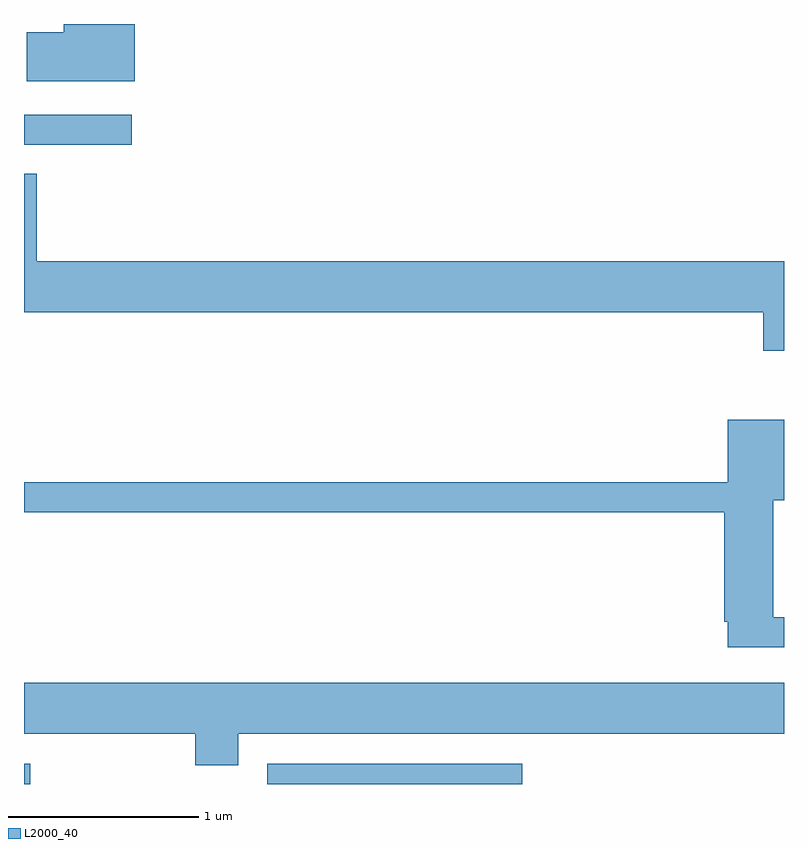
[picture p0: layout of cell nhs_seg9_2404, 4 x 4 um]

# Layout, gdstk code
import gdstk
lib = gdstk.Library(unit=1e-6, precision=1e-09)
def R(c, l, rs):  # rectangles x0, y0, x1, y1
    for r in rs: c.add(gdstk.rectangle(r[:2], r[2:], *l))
def P(c, l, *ps):  # polygons
    for p in ps: c.add(gdstk.Polygon(p, *l))
L2000_40 = (2000, 40)

nhs_seg9_2404 = lib.new_cell('nhs_seg9_2404')
R(nhs_seg9_2404, L2000_40, [(255.611,2000.432,255.643,2000.539), (256.891,2000.432,258.233,2000.539), (255.611,2003.796,256.178,2003.954)])
P(nhs_seg9_2404, L2000_40, [(256.194,2004.432),(255.821,2004.432),(255.821,2004.389),(255.626,2004.389),(255.626,2004.131),(256.194,2004.131)],
  [(259.611,2003.184),(255.679,2003.184),(255.679,2003.644),(255.611,2003.644),(255.611,2002.916),(259.501,2002.916),(259.501,2002.711),(259.611,2002.711)],
  [(259.611,2001.309),(259.554,2001.309),(259.554,2001.926),(259.611,2001.926),(259.611,2002.349),(259.316,2002.349),(259.316,2002.019),(255.611,2002.019),(255.611,2001.861),(259.296,2001.861),(259.296,2001.286),(259.316,2001.286),(259.316,2001.151),(259.611,2001.151)],
  [(256.739,2000.696),(259.611,2000.696),(259.611,2000.964),(255.611,2000.964),(255.611,2000.696),(256.511,2000.696),(256.511,2000.531),(256.739,2000.531)])

lib.write_gds('nhs_seg9_2404.gds')
